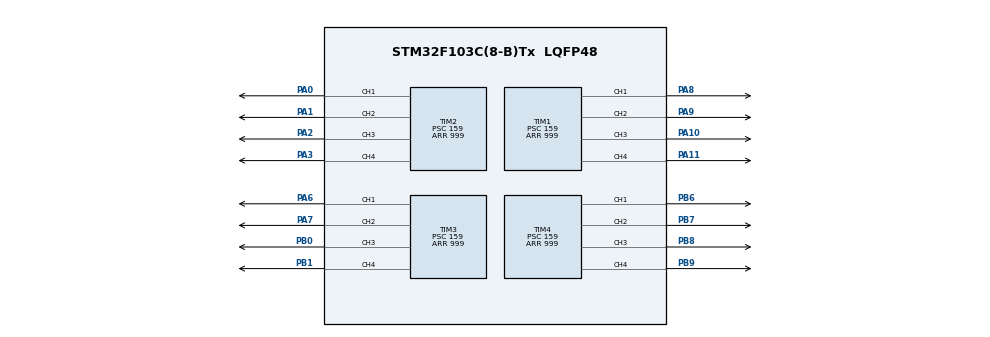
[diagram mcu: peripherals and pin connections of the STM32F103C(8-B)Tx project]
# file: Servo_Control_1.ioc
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Mcu.Family=STM32F1
Mcu.Name=STM32F103C(8-B)Tx
Mcu.Package=LQFP48
NVIC.PriorityGroup=NVIC_PRIORITYGROUP_4
PA0-WKUP.Signal=S_TIM2_CH1_ETR
PA1.Signal=S_TIM2_CH2
PA10.Signal=S_TIM1_CH3
PA11.Signal=S_TIM1_CH4
PA2.Signal=S_TIM2_CH3
PA3.Signal=S_TIM2_CH4
PA6.Signal=S_TIM3_CH1
PA7.Signal=S_TIM3_CH2
PA8.Signal=S_TIM1_CH1
PA9.Signal=S_TIM1_CH2
PB0.Signal=S_TIM3_CH3
PB1.Signal=S_TIM3_CH4
PB6.Signal=S_TIM4_CH1
PB7.Signal=S_TIM4_CH2
PB8.Signal=S_TIM4_CH3
PB9.Signal=S_TIM4_CH4
ProjectManager.HeapSize=0x200
ProjectManager.StackSize=0x400
ProjectManager.TargetToolchain=MDK-ARM V5.32
RCC.APB1Freq_Value=8000000
RCC.APB2Freq_Value=8000000
SH.S_TIM1_CH1.0=TIM1_CH1,PWM Generation1 CH1
SH.S_TIM1_CH2.0=TIM1_CH2,PWM Generation2 CH2
SH.S_TIM1_CH3.0=TIM1_CH3,PWM Generation3 CH3
SH.S_TIM1_CH4.0=TIM1_CH4,PWM Generation4 CH4
SH.S_TIM2_CH1_ETR.0=TIM2_CH1,PWM Generation1 CH1
SH.S_TIM2_CH2.0=TIM2_CH2,PWM Generation2 CH2
SH.S_TIM2_CH3.0=TIM2_CH3,PWM Generation3 CH3
SH.S_TIM2_CH4.0=TIM2_CH4,PWM Generation4 CH4
SH.S_TIM3_CH1.0=TIM3_CH1,PWM Generation1 CH1
SH.S_TIM3_CH2.0=TIM3_CH2,PWM Generation2 CH2
SH.S_TIM3_CH3.0=TIM3_CH3,PWM Generation3 CH3
SH.S_TIM3_CH4.0=TIM3_CH4,PWM Generation4 CH4
SH.S_TIM4_CH1.0=TIM4_CH1,PWM Generation1 CH1
SH.S_TIM4_CH2.0=TIM4_CH2,PWM Generation2 CH2
SH.S_TIM4_CH3.0=TIM4_CH3,PWM Generation3 CH3
SH.S_TIM4_CH4.0=TIM4_CH4,PWM Generation4 CH4
TIM1.Channel-PWM\ Generation1\ CH1=TIM_CHANNEL_1
TIM1.Channel-PWM\ Generation2\ CH2=TIM_CHANNEL_2
TIM1.Channel-PWM\ Generation3\ CH3=TIM_CHANNEL_3
TIM1.Channel-PWM\ Generation4\ CH4=TIM_CHANNEL_4
TIM1.Period=999
TIM1.Prescaler=159
TIM2.Channel-PWM\ Generation1\ CH1=TIM_CHANNEL_1
TIM2.Channel-PWM\ Generation2\ CH2=TIM_CHANNEL_2
TIM2.Channel-PWM\ Generation3\ CH3=TIM_CHANNEL_3
TIM2.Channel-PWM\ Generation4\ CH4=TIM_CHANNEL_4
TIM2.Period=999
TIM2.Prescaler=159
TIM3.Channel-PWM\ Generation1\ CH1=TIM_CHANNEL_1
TIM3.Channel-PWM\ Generation2\ CH2=TIM_CHANNEL_2
TIM3.Channel-PWM\ Generation3\ CH3=TIM_CHANNEL_3
TIM3.Channel-PWM\ Generation4\ CH4=TIM_CHANNEL_4
TIM3.Period=999
TIM3.Prescaler=159
TIM4.Channel-PWM\ Generation1\ CH1=TIM_CHANNEL_1
TIM4.Channel-PWM\ Generation2\ CH2=TIM_CHANNEL_2
TIM4.Channel-PWM\ Generation3\ CH3=TIM_CHANNEL_3
TIM4.Channel-PWM\ Generation4\ CH4=TIM_CHANNEL_4
TIM4.Period=999
TIM4.Prescaler=159
VP_SYS_VS_ND.Mode=No_Debug
VP_TIM1_VS_ClockSourceINT.Mode=Internal
VP_TIM2_VS_ClockSourceINT.Mode=Internal
VP_TIM3_VS_ClockSourceINT.Mode=Internal
VP_TIM4_VS_ClockSourceINT.Mode=Internal
board=custom

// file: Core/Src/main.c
/* USER CODE BEGIN Header */
/**
  ******************************************************************************
  * @file           : main.c
  * @brief          : Main program body
  ******************************************************************************
  * @attention
  *
  * Copyright (c) 2023 STMicroelectronics.
  * All rights reserved.
  *
  * This software is licensed under terms that can be found in the LICENSE file
  * in the root directory of this software component.
  * If no LICENSE file comes with this software, it is provided AS-IS.
  *
  ******************************************************************************
  */
/* USER CODE END Header */
#include "main.h"
#include "stdio.h"

TIM_HandleTypeDef htim1;
TIM_HandleTypeDef htim2;
TIM_HandleTypeDef htim3;
TIM_HandleTypeDef htim4;

void SystemClock_Config(void);
static void MX_GPIO_Init(void);
static void MX_TIM1_Init(void);
static void MX_TIM2_Init(void);
static void MX_TIM3_Init(void);
static void MX_TIM4_Init(void);

/* USER CODE BEGIN 0 */
int Motor_Current_Position[4][5] = {{0, 0, 0, 0, 0}, {0, 75, 63, 75, 75}, {0, 115, 110, 110, 105}, {0, 75, 75, 75, 80}};
int Find_max(int pwm_1, int pwm_2, int pwm_3, int pwm_4)
{
	int max = pwm_1;
	if(max < pwm_2)
		max = pwm_2;
	if(max < pwm_3)
		max = pwm_3;
	if(max < pwm_4)
		max = pwm_4;
	return max;
}
int Find_min(int pwm_1, int pwm_2, int pwm_3, int pwm_4)
{
	int min = pwm_1;
	if(min > pwm_2)
		min = pwm_2;
	if(min > pwm_3)
		min = pwm_3;
	if(min > pwm_4)
		min = pwm_4;
	return min;
}
////////////////////////////////////////////////////////////////////////////////////
void Move_All(int pwm_1, int pwm_2, int pwm_3, int pwm_4, int motor)
{
	int n, max, min;
	max = Find_max(pwm_1, pwm_2, pwm_3, pwm_4);
	min = Find_min(pwm_1, pwm_2, pwm_3, pwm_4);
	switch(motor)
	{
		case 1:
			n = 50;
			for(;n <= max;n++)
			{
				if(pwm_3 >= n)
					htim3.Instance->CCR1 = n;
				if(pwm_1 >= n)
					htim1.Instance->CCR3 = n;
				if(pwm_4 >= n)
					htim4.Instance->CCR1 = n;
				if(pwm_2 >= n)
					htim2.Instance->CCR4 = n;
				HAL_Delay(20);
			}
			break;
		case 2:
			n = 70;
			for(;n <= max;n++)
			{
				if(pwm_3 >= n)
					htim3.Instance->CCR2 = n;
				if(pwm_1 >= n)
					htim1.Instance->CCR2 = n;
				if(pwm_4 >= n)
					htim4.Instance->CCR2 = n;
				if(pwm_2 >= n)
					htim2.Instance->CCR3 = n;
				HAL_Delay(20);
			}
			break;
		case 3:
			n = 125;
			for(;n >= min;n--)
			{
				if(pwm_3 <= n)
					htim3.Instance->CCR3 = n;
				if(pwm_1 <= n)
					htim1.Instance->CCR1 = n;
				if(pwm_4 <= n)
					htim4.Instance->CCR3 = n;
				if(pwm_2 <= n)
					htim2.Instance->CCR2 = n;
				HAL_Delay(20);
			}
			break;
			/*n = 45;
			for(;n <= max;n++)
			{
				if(pwm_3 >= n)
					htim3.Instance->CCR3 = n;
				if(pwm_1 >= n)
					htim1.Instance->CCR1 = n;
				if(pwm_4 >= n)
					htim4.Instance->CCR3 = n;
				if(pwm_2 >= n)
					htim2.Instance->CCR2 = n;
				HAL_Delay(20);
			}
			break;*/
	}
}
////////////////////////////////////////////////////////////////////////////////////
void Move(TIM_HandleTypeDef htim, int timer, int CCR, int pwm, int motor)
{
	int n = Motor_Current_Position[motor][timer];
	if(n <= pwm)
	{
		switch(CCR)
		{
			case 1:
					for(;n <= pwm;n++)
					{
						htim.Instance->CCR1 = n;
						HAL_Delay(20);
					}
					break;
			case 2:
					for(;n <= pwm;n++)
					{
						htim.Instance->CCR2 = n;
						HAL_Delay(20);
					}
					break;
			case 3:
					for(;n <= pwm;n++)
					{
						htim.Instance->CCR3 = n;
						HAL_Delay(20);
					}
					break;
			case 4:
					for(;n <= pwm;n++)
					{
						htim.Instance->CCR4 = n;
						HAL_Delay(20);
					}
					break;
		}
	}
	else
	{
		switch(CCR)
		{
			case 1:
					for(;n >= pwm;n--)
					{
						htim.Instance->CCR1 = n;
						HAL_Delay(20);
					}
					break;
			case 2:
					for(;n >= pwm;n--)
					{
						htim.Instance->CCR2 = n;
						HAL_Delay(20);
					}
					break;
			case 3:
					for(;n >= pwm;n--)
					{
						htim.Instance->CCR3 = n;
						HAL_Delay(20);
					}
					break;
			case 4:
					for(;n >= pwm;n--)
					{
						htim.Instance->CCR4 = n;
						HAL_Delay(20);
					}
					break;
		}
	}
	Motor_Current_Position[motor][timer] = pwm;
}
////////////////////////////////////////////////////////////////////////////////////
void StandUp()
{
	HAL_Delay(1000);
	Move_All(75, 79, 78, 77, 1);
	Move_All(125, 114, 120, 118, 2);
	Move_All(89, 90, 96, 89, 3);
}
////////////////////////////////////////////////////////////////////////////////////
void Forward()
{
	///////////////////////////
	Move(htim4, 4, 2, 97, 2);
	Move(htim4, 4, 3, 68, 3);
	Move(htim3, 3, 2, 90, 2);
	Move(htim3, 3, 1, 93, 1);
	Move(htim3, 3, 2, 120, 2);
	Move(htim4, 4, 2, 118, 2);
	Move(htim4, 4, 3, 89, 3);
	Move(htim3, 3, 1, 78, 1);
	HAL_Delay(500);
	///////////////////////////
	Move(htim1, 1, 2, 104, 2);
	Move(htim1, 1, 1, 68, 3);
	Move(htim2, 2, 3, 84, 2);
	Move(htim2, 2, 4, 60, 1);
	Move(htim2, 2, 3, 114, 2);
	Move(htim1, 1, 2, 125, 2);
	Move(htim1, 1, 1, 89, 3);
	Move(htim4, 4, 2, 110, 2);
	Move(htim4, 4, 3, 85, 3);
	Move(htim2, 2, 4, 79, 1);
	Move(htim4, 4, 2, 118, 2);
	Move(htim4, 4, 3, 89, 3);
}
/* USER CODE END 0 */

int main(void)
{

  /* MCU Configuration--------------------------------------------------------*/

  /* Reset of all peripherals, Initializes the Flash interface and the Systick. */
  HAL_Init();

  /* Configure the system clock */
  SystemClock_Config();

  /* Initialize all configured peripherals */
  MX_GPIO_Init();
  MX_TIM1_Init();
  MX_TIM2_Init();
  MX_TIM3_Init();
  MX_TIM4_Init();
  /* USER CODE BEGIN 2 */
	//////////////////////////////////////////////////////////////
	HAL_TIM_PWM_Start(&htim1, TIM_CHANNEL_1); //A8	=> M3
	HAL_TIM_PWM_Start(&htim1, TIM_CHANNEL_2);	//A9	=> M2
	HAL_TIM_PWM_Start(&htim1, TIM_CHANNEL_3); //A10 => M1
	//////////////////////////////////////////////////////////////
	HAL_TIM_PWM_Start(&htim2, TIM_CHANNEL_2);	//A1	=> M3
	HAL_TIM_PWM_Start(&htim2, TIM_CHANNEL_3); //A2	=> M2
	HAL_TIM_PWM_Start(&htim2, TIM_CHANNEL_4);	//A3	=> M1
	//////////////////////////////////////////////////////////////
	HAL_TIM_PWM_Start(&htim3, TIM_CHANNEL_1); //A6	=> M1
	HAL_TIM_PWM_Start(&htim3, TIM_CHANNEL_2);	//A7	=> M2
	HAL_TIM_PWM_Start(&htim3, TIM_CHANNEL_3); //B0	=> M3
	//////////////////////////////////////////////////////////////
	HAL_TIM_PWM_Start(&htim4, TIM_CHANNEL_1); //B6	=> M1
	HAL_TIM_PWM_Start(&htim4, TIM_CHANNEL_2);	//B7	=> M2
	HAL_TIM_PWM_Start(&htim4, TIM_CHANNEL_3); //B8	=> M3

  /* USER CODE END 2 */

  /* Infinite loop */
  while (1)
  {

    /* USER CODE BEGIN 3 */
		StandUp();
		HAL_Delay(2000);
		Forward();
		HAL_Delay(2000);
		Forward();
		break;
	}
  /* USER CODE END 3 */
}

void SystemClock_Config(void)
{
  RCC_OscInitTypeDef RCC_OscInitStruct = {0};
  RCC_ClkInitTypeDef RCC_ClkInitStruct = {0};

  /** Initializes the RCC Oscillators according to the specified parameters
  * in the RCC_OscInitTypeDef structure.
  */
  RCC_OscInitStruct.OscillatorType = RCC_OSCILLATORTYPE_HSI;
  RCC_OscInitStruct.HSIState = RCC_HSI_ON;
  RCC_OscInitStruct.HSICalibrationValue = RCC_HSICALIBRATION_DEFAULT;
  RCC_OscInitStruct.PLL.PLLState = RCC_PLL_NONE;
  if (HAL_RCC_OscConfig(&RCC_OscInitStruct) != HAL_OK)
  {
    Error_Handler();
  }

  /** Initializes the CPU, AHB and APB buses clocks
  */
  RCC_ClkInitStruct.ClockType = RCC_CLOCKTYPE_HCLK|RCC_CLOCKTYPE_SYSCLK
                              |RCC_CLOCKTYPE_PCLK1|RCC_CLOCKTYPE_PCLK2;
  RCC_ClkInitStruct.SYSCLKSource = RCC_SYSCLKSOURCE_HSI;
  RCC_ClkInitStruct.AHBCLKDivider = RCC_SYSCLK_DIV1;
  RCC_ClkInitStruct.APB1CLKDivider = RCC_HCLK_DIV1;
  RCC_ClkInitStruct.APB2CLKDivider = RCC_HCLK_DIV1;

  if (HAL_RCC_ClockConfig(&RCC_ClkInitStruct, FLASH_LATENCY_0) != HAL_OK)
  {
    Error_Handler();
  }
}

static void MX_TIM1_Init(void)
{

  TIM_ClockConfigTypeDef sClockSourceConfig = {0};
  TIM_MasterConfigTypeDef sMasterConfig = {0};
  TIM_OC_InitTypeDef sConfigOC = {0};
  TIM_BreakDeadTimeConfigTypeDef sBreakDeadTimeConfig = {0};

  htim1.Instance = TIM1;
  htim1.Init.Prescaler = 159;
  htim1.Init.CounterMode = TIM_COUNTERMODE_UP;
  htim1.Init.Period = 999;
  htim1.Init.ClockDivision = TIM_CLOCKDIVISION_DIV1;
  htim1.Init.RepetitionCounter = 0;
  htim1.Init.AutoReloadPreload = TIM_AUTORELOAD_PRELOAD_DISABLE;
  if (HAL_TIM_Base_Init(&htim1) != HAL_OK)
  {
    Error_Handler();
  }
  sClockSourceConfig.ClockSource = TIM_CLOCKSOURCE_INTERNAL;
  if (HAL_TIM_ConfigClockSource(&htim1, &sClockSourceConfig) != HAL_OK)
  {
    Error_Handler();
  }
  if (HAL_TIM_PWM_Init(&htim1) != HAL_OK)
  {
    Error_Handler();
  }
  sMasterConfig.MasterOutputTrigger = TIM_TRGO_RESET;
  sMasterConfig.MasterSlaveMode = TIM_MASTERSLAVEMODE_DISABLE;
  if (HAL_TIMEx_MasterConfigSynchronization(&htim1, &sMasterConfig) != HAL_OK)
  {
    Error_Handler();
  }
  sConfigOC.OCMode = TIM_OCMODE_PWM1;
  sConfigOC.Pulse = 0;
  sConfigOC.OCPolarity = TIM_OCPOLARITY_HIGH;
  sConfigOC.OCNPolarity = TIM_OCNPOLARITY_HIGH;
  sConfigOC.OCFastMode = TIM_OCFAST_DISABLE;
  sConfigOC.OCIdleState = TIM_OCIDLESTATE_RESET;
  sConfigOC.OCNIdleState = TIM_OCNIDLESTATE_RESET;
  if (HAL_TIM_PWM_ConfigChannel(&htim1, &sConfigOC, TIM_CHANNEL_1) != HAL_OK)
  {
    Error_Handler();
  }
  if (HAL_TIM_PWM_ConfigChannel(&htim1, &sConfigOC, TIM_CHANNEL_2) != HAL_OK)
  {
    Error_Handler();
  }
  if (HAL_TIM_PWM_ConfigChannel(&htim1, &sConfigOC, TIM_CHANNEL_3) != HAL_OK)
  {
    Error_Handler();
  }
  if (HAL_TIM_PWM_ConfigChannel(&htim1, &sConfigOC, TIM_CHANNEL_4) != HAL_OK)
  {
    Error_Handler();
  }
  sBreakDeadTimeConfig.OffStateRunMode = TIM_OSSR_DISABLE;
  sBreakDeadTimeConfig.OffStateIDLEMode = TIM_OSSI_DISABLE;
  sBreakDeadTimeConfig.LockLevel = TIM_LOCKLEVEL_OFF;
  sBreakDeadTimeConfig.DeadTime = 0;
  sBreakDeadTimeConfig.BreakState = TIM_BREAK_DISABLE;
  sBreakDeadTimeConfig.BreakPolarity = TIM_BREAKPOLARITY_HIGH;
  sBreakDeadTimeConfig.AutomaticOutput = TIM_AUTOMATICOUTPUT_DISABLE;
  if (HAL_TIMEx_ConfigBreakDeadTime(&htim1, &sBreakDeadTimeConfig) != HAL_OK)
  {
    Error_Handler();
  }
  HAL_TIM_MspPostInit(&htim1);

}

static void MX_TIM2_Init(void)
{

  TIM_ClockConfigTypeDef sClockSourceConfig = {0};
  TIM_MasterConfigTypeDef sMasterConfig = {0};
  TIM_OC_InitTypeDef sConfigOC = {0};

  htim2.Instance = TIM2;
  htim2.Init.Prescaler = 159;
  htim2.Init.CounterMode = TIM_COUNTERMODE_UP;
  htim2.Init.Period = 999;
  htim2.Init.ClockDivision = TIM_CLOCKDIVISION_DIV1;
  htim2.Init.AutoReloadPreload = TIM_AUTORELOAD_PRELOAD_DISABLE;
  if (HAL_TIM_Base_Init(&htim2) != HAL_OK)
  {
    Error_Handler();
  }
  sClockSourceConfig.ClockSource = TIM_CLOCKSOURCE_INTERNAL;
  if (HAL_TIM_ConfigClockSource(&htim2, &sClockSourceConfig) != HAL_OK)
  {
    Error_Handler();
  }
  if (HAL_TIM_PWM_Init(&htim2) != HAL_OK)
  {
    Error_Handler();
  }
  sMasterConfig.MasterOutputTrigger = TIM_TRGO_RESET;
  sMasterConfig.MasterSlaveMode = TIM_MASTERSLAVEMODE_DISABLE;
  if (HAL_TIMEx_MasterConfigSynchronization(&htim2, &sMasterConfig) != HAL_OK)
  {
    Error_Handler();
  }
  sConfigOC.OCMode = TIM_OCMODE_PWM1;
  sConfigOC.Pulse = 0;
  sConfigOC.OCPolarity = TIM_OCPOLARITY_HIGH;
  sConfigOC.OCFastMode = TIM_OCFAST_DISABLE;
  if (HAL_TIM_PWM_ConfigChannel(&htim2, &sConfigOC, TIM_CHANNEL_1) != HAL_OK)
  {
    Error_Handler();
  }
  if (HAL_TIM_PWM_ConfigChannel(&htim2, &sConfigOC, TIM_CHANNEL_2) != HAL_OK)
  {
    Error_Handler();
  }
  if (HAL_TIM_PWM_ConfigChannel(&htim2, &sConfigOC, TIM_CHANNEL_3) != HAL_OK)
  {
    Error_Handler();
  }
  if (HAL_TIM_PWM_ConfigChannel(&htim2, &sConfigOC, TIM_CHANNEL_4) != HAL_OK)
  {
    Error_Handler();
  }
  HAL_TIM_MspPostInit(&htim2);

}

static void MX_TIM3_Init(void)
{

  TIM_ClockConfigTypeDef sClockSourceConfig = {0};
  TIM_MasterConfigTypeDef sMasterConfig = {0};
  TIM_OC_InitTypeDef sConfigOC = {0};

  htim3.Instance = TIM3;
  htim3.Init.Prescaler = 159;
  htim3.Init.CounterMode = TIM_COUNTERMODE_UP;
  htim3.Init.Period = 999;
  htim3.Init.ClockDivision = TIM_CLOCKDIVISION_DIV1;
  htim3.Init.AutoReloadPreload = TIM_AUTORELOAD_PRELOAD_DISABLE;
  if (HAL_TIM_Base_Init(&htim3) != HAL_OK)
  {
    Error_Handler();
  }
  sClockSourceConfig.ClockSource = TIM_CLOCKSOURCE_INTERNAL;
  if (HAL_TIM_ConfigClockSource(&htim3, &sClockSourceConfig) != HAL_OK)
  {
    Error_Handler();
  }
  if (HAL_TIM_PWM_Init(&htim3) != HAL_OK)
  {
    Error_Handler();
  }
  sMasterConfig.MasterOutputTrigger = TIM_TRGO_RESET;
  sMasterConfig.MasterSlaveMode = TIM_MASTERSLAVEMODE_DISABLE;
  if (HAL_TIMEx_MasterConfigSynchronization(&htim3, &sMasterConfig) != HAL_OK)
  {
    Error_Handler();
  }
  sConfigOC.OCMode = TIM_OCMODE_PWM1;
  sConfigOC.Pulse = 0;
  sConfigOC.OCPolarity = TIM_OCPOLARITY_HIGH;
  sConfigOC.OCFastMode = TIM_OCFAST_DISABLE;
  if (HAL_TIM_PWM_ConfigChannel(&htim3, &sConfigOC, TIM_CHANNEL_1) != HAL_OK)
  {
    Error_Handler();
  }
  if (HAL_TIM_PWM_ConfigChannel(&htim3, &sConfigOC, TIM_CHANNEL_2) != HAL_OK)
  {
    Error_Handler();
  }
  if (HAL_TIM_PWM_ConfigChannel(&htim3, &sConfigOC, TIM_CHANNEL_3) != HAL_OK)
  {
    Error_Handler();
  }
  if (HAL_TIM_PWM_ConfigChannel(&htim3, &sConfigOC, TIM_CHANNEL_4) != HAL_OK)
  {
    Error_Handler();
  }
  HAL_TIM_MspPostInit(&htim3);

}

static void MX_TIM4_Init(void)
{

  TIM_ClockConfigTypeDef sClockSourceConfig = {0};
  TIM_MasterConfigTypeDef sMasterConfig = {0};
  TIM_OC_InitTypeDef sConfigOC = {0};

  htim4.Instance = TIM4;
  htim4.Init.Prescaler = 159;
  htim4.Init.CounterMode = TIM_COUNTERMODE_UP;
  htim4.Init.Period = 999;
  htim4.Init.ClockDivision = TIM_CLOCKDIVISION_DIV1;
  htim4.Init.AutoReloadPreload = TIM_AUTORELOAD_PRELOAD_DISABLE;
  if (HAL_TIM_Base_Init(&htim4) != HAL_OK)
  {
    Error_Handler();
  }
  sClockSourceConfig.ClockSource = TIM_CLOCKSOURCE_INTERNAL;
  if (HAL_TIM_ConfigClockSource(&htim4, &sClockSourceConfig) != HAL_OK)
  {
    Error_Handler();
  }
  if (HAL_TIM_PWM_Init(&htim4) != HAL_OK)
  {
    Error_Handler();
  }
  sMasterConfig.MasterOutputTrigger = TIM_TRGO_RESET;
  sMasterConfig.MasterSlaveMode = TIM_MASTERSLAVEMODE_DISABLE;
  if (HAL_TIMEx_MasterConfigSynchronization(&htim4, &sMasterConfig) != HAL_OK)
  {
    Error_Handler();
  }
  sConfigOC.OCMode = TIM_OCMODE_PWM1;
  sConfigOC.Pulse = 0;
  sConfigOC.OCPolarity = TIM_OCPOLARITY_HIGH;
  sConfigOC.OCFastMode = TIM_OCFAST_DISABLE;
  if (HAL_TIM_PWM_ConfigChannel(&htim4, &sConfigOC, TIM_CHANNEL_1) != HAL_OK)
  {
    Error_Handler();
  }
  if (HAL_TIM_PWM_ConfigChannel(&htim4, &sConfigOC, TIM_CHANNEL_2) != HAL_OK)
  {
    Error_Handler();
  }
  if (HAL_TIM_PWM_ConfigChannel(&htim4, &sConfigOC, TIM_CHANNEL_3) != HAL_OK)
  {
    Error_Handler();
  }
  if (HAL_TIM_PWM_ConfigChannel(&htim4, &sConfigOC, TIM_CHANNEL_4) != HAL_OK)
  {
    Error_Handler();
  }
  HAL_TIM_MspPostInit(&htim4);

}

static void MX_GPIO_Init(void)
{

  /* GPIO Ports Clock Enable */
  __HAL_RCC_GPIOA_CLK_ENABLE();
  __HAL_RCC_GPIOB_CLK_ENABLE();

}

void Error_Handler(void)
{
  __disable_irq();
  while (1)
  {
  }
}
